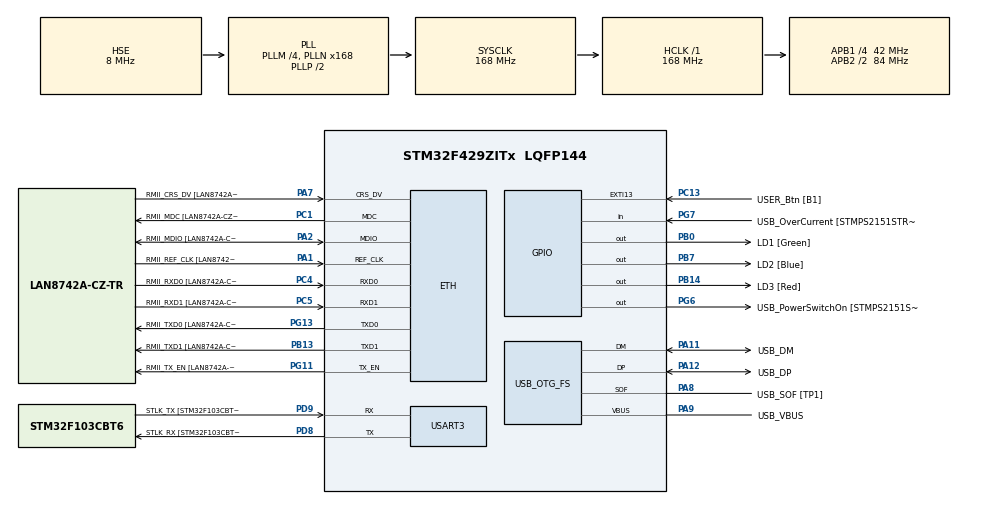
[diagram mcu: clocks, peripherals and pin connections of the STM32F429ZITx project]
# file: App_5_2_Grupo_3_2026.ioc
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ETH.MediaInterface=HAL_ETH_RMII_MODE
ETH.PHY_Name=LAN8742A_PHY_ADDRESS
ETH.PHY_Value=0
ETH.PhyAddress=0
Mcu.Family=STM32F4
Mcu.Name=STM32F429ZITx
Mcu.Package=LQFP144
NVIC.PriorityGroup=NVIC_PRIORITYGROUP_4
PA1.GPIO_Label=RMII_REF_CLK [LAN8742A-CZ-TR_REFCLK0]
PA1.Mode=RMII
PA1.Signal=ETH_REF_CLK
PA10.GPIO_Label=USB_ID
PA10.Signal=USB_OTG_FS_ID
PA11.GPIO_Label=USB_DM
PA11.Mode=Device_Only
PA11.Signal=USB_OTG_FS_DM
PA12.GPIO_Label=USB_DP
PA12.Mode=Device_Only
PA12.Signal=USB_OTG_FS_DP
PA13.GPIO_Label=TMS
PA13.Mode=Serial_Wire
PA13.Signal=SYS_JTMS-SWDIO
PA14.GPIO_Label=TCK
PA14.Mode=Serial_Wire
PA14.Signal=SYS_JTCK-SWCLK
PA2.GPIO_Label=RMII_MDIO [LAN8742A-CZ-TR_MDIO]
PA2.Mode=RMII
PA2.Signal=ETH_MDIO
PA7.GPIO_Label=RMII_CRS_DV [LAN8742A-CZ-TR_CRS_DV]
PA7.Mode=RMII
PA7.Signal=ETH_CRS_DV
PA8.GPIO_Label=USB_SOF [TP1]
PA8.Mode=Activate_SOF_FS
PA8.Signal=USB_OTG_FS_SOF
PA9.GPIO_Label=USB_VBUS
PA9.Mode=Activate_VBUS
PA9.Signal=USB_OTG_FS_VBUS
PB0.GPIO_Label=LD1 [Green]
PB0.Signal=GPIO_Output
PB13.GPIO_Label=RMII_TXD1 [LAN8742A-CZ-TR_TXD1]
PB13.Mode=RMII
PB13.Signal=ETH_TXD1
PB14.GPIO_Label=LD3 [Red]
PB14.Signal=GPIO_Output
PB7.GPIO_Label=LD2 [Blue]
PB7.Signal=GPIO_Output
PC1.GPIO_Label=RMII_MDC [LAN8742A-CZ-TR_MDC]
PC1.Mode=RMII
PC1.Signal=ETH_MDC
PC13.GPIO_Label=USER_Btn [B1]
PC13.Signal=GPXTI13
PC14/OSC32_IN.Mode=LSE-External-Oscillator
PC14/OSC32_IN.Signal=RCC_OSC32_IN
PC15/OSC32_OUT.Mode=LSE-External-Oscillator
PC15/OSC32_OUT.Signal=RCC_OSC32_OUT
PC4.GPIO_Label=RMII_RXD0 [LAN8742A-CZ-TR_RXD0]
PC4.Mode=RMII
PC4.Signal=ETH_RXD0
PC5.GPIO_Label=RMII_RXD1 [LAN8742A-CZ-TR_RXD1]
PC5.Mode=RMII
PC5.Signal=ETH_RXD1
PD8.GPIO_Label=STLK_RX [STM32F103CBT6_PA3]
PD8.Mode=Asynchronous
PD8.Signal=USART3_TX
PD9.GPIO_Label=STLK_TX [STM32F103CBT6_PA2]
PD9.Mode=Asynchronous
PD9.Signal=USART3_RX
PG11.GPIO_Label=RMII_TX_EN [LAN8742A-CZ-TR_TXEN]
PG11.Mode=RMII
PG11.Signal=ETH_TX_EN
PG13.GPIO_Label=RMII_TXD0 [LAN8742A-CZ-TR_TXD0]
PG13.Mode=RMII
PG13.Signal=ETH_TXD0
PG6.GPIO_Label=USB_PowerSwitchOn [STMPS2151STR_EN]
PG6.Signal=GPIO_Output
PG7.GPIO_Label=USB_OverCurrent [STMPS2151STR_FAULT]
PG7.Signal=GPIO_Input
PH0/OSC_IN.GPIO_Label=MCO [STM32F103CBT6_PA8]
PH0/OSC_IN.Mode=HSE-External-Clock-Source
PH0/OSC_IN.Signal=RCC_OSC_IN
PH1/OSC_OUT.Mode=HSE-External-Clock-Source
PH1/OSC_OUT.Signal=RCC_OSC_OUT
ProjectManager.HeapSize=0x200
ProjectManager.StackSize=0x400
ProjectManager.TargetToolchain=STM32CubeIDE
RCC.48MHZClocksFreq_Value=48000000
RCC.AHBFreq_Value=168000000
RCC.APB1CLKDivider=RCC_HCLK_DIV4
RCC.APB1Freq_Value=42000000
RCC.APB1TimFreq_Value=84000000
RCC.APB2CLKDivider=RCC_HCLK_DIV2
RCC.APB2Freq_Value=84000000
RCC.APB2TimCLKDivider=2
RCC.APB2TimFreq_Value=168000000
RCC.CortexFreq_Value=168000000
RCC.HCLKFreq_Value=168000000
RCC.HSE_VALUE=8000000
RCC.HSI_VALUE=16000000
RCC.PLLM=4
RCC.PLLMUL=RCC_PLL_MUL9
RCC.PLLN=168
RCC.PLLQ=7
RCC.PRESCALERUSB=RCC_USBCLKSOURCE_PLL_DIV1_5
RCC.SYSCLKFreq_VALUE=168000000
RCC.SYSCLKSource=RCC_SYSCLKSOURCE_PLLCLK
RCC.SYSCLKSourceVirtual=RCC_SYSCLKSOURCE_PLLCLK
RCC.USBFreq_Value=48000000
RCC.VCOOutputFreq_Value=336000000
USART3.VirtualMode=VM_ASYNC
USB_OTG_FS.VirtualMode=Device_Only
board=NUCLEO-F429ZI

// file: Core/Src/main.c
/* USER CODE BEGIN Header */
/**
  ******************************************************************************
  * @file           : main.c
  * @brief          : Main program body
  ******************************************************************************
  * App_5_2_Grupo_3_2026 - AFP5 - Antirrebote por MEF (API_debounce)
  *
  * Aplicacion (refactor de App_4_2 con driver de antirrebote): secuencia de
  * encendido de los 3 leds onboard (200 ms encendido, 200 ms apagado). El
  * pulsador de usuario invierte el sentido de la secuencia; la pulsacion es
  * validada por la maquina de estados de API_debounce con 40 ms de
  * antirrebote, por lo que el rebote mecanico ya no puede producir
  * inversiones falsas.
  * Se usan los tres drivers apilados: API_debounce (MEF) -> API_delay
  * (retardos no bloqueantes) -> API_GPIO (acceso a pines).
  ******************************************************************************
  * @attention
  *
  * Copyright (c) 2026 STMicroelectronics.
  * All rights reserved.
  *
  * This software is licensed under terms that can be found in the LICENSE file
  * in the root directory of this software component.
  * If no LICENSE file comes with this software, it is provided AS-IS.
  *
  ******************************************************************************
  */
/* USER CODE END Header */
#include "main.h"
#include "string.h"
#include "API_GPIO.h"
#include "API_delay.h"
#include "API_debounce.h"

/* USER CODE BEGIN PD */
#define LED_COUNT	3		/* Cantidad de leds del vector: extensible a mas leds */
#define TIEMPO_MS	200		/* Tiempo de encendido y de apagado de cada led [ms] */
/* USER CODE END PD */

ETH_TxPacketConfig TxConfig;
ETH_DMADescTypeDef  DMARxDscrTab[ETH_RX_DESC_CNT]; /* Ethernet Rx DMA Descriptors */
ETH_DMADescTypeDef  DMATxDscrTab[ETH_TX_DESC_CNT]; /* Ethernet Tx DMA Descriptors */

ETH_HandleTypeDef heth;

UART_HandleTypeDef huart3;

PCD_HandleTypeDef hpcd_USB_OTG_FS;

/* USER CODE BEGIN PV */
/* Vector de leds de la placa: con este formato la app queda general y puede
 * extenderse a mas leds con minimas modificaciones (solo agregar elementos) */
led_t leds[LED_COUNT] = {
	{LD1_GPIO_Port, LD1_Pin},
	{LD2_GPIO_Port, LD2_Pin},
	{LD3_GPIO_Port, LD3_Pin}
};

const button_t userButton = {USER_Btn_GPIO_Port, USER_Btn_Pin};

delay_t delaySecuencia;		/* Retardo no bloqueante de la secuencia */
uint8_t indice = 0;			/* Indice del led activo en el vector */
bool ledEncendido = false;	/* Estado de la fase actual: encendido o apagado */
int8_t direccion = 1;		/* 1 = LD1->LD3, -1 = sentido inverso */
/* USER CODE END PV */

void SystemClock_Config(void);
/* El prototipo de MX_GPIO_Init() paso al driver: ver API_GPIO.h */
static void MX_ETH_Init(void);
static void MX_USART3_UART_Init(void);
static void MX_USB_OTG_FS_PCD_Init(void);

int main(void)
{

  /* MCU Configuration--------------------------------------------------------*/

  /* Reset of all peripherals, Initializes the Flash interface and the Systick. */
  HAL_Init();

  /* Configure the system clock */
  SystemClock_Config();

  /* Initialize all configured peripherals */
  MX_GPIO_Init();
  MX_ETH_Init();
  MX_USART3_UART_Init();
  MX_USB_OTG_FS_PCD_Init();
  /* USER CODE BEGIN 2 */
  delayInit(&delaySecuencia, TIEMPO_MS);
  debounceFSM_init();
  /* USER CODE END 2 */

  /* Infinite loop */
  /* USER CODE BEGIN WHILE */
  while (1)
  {
	  /* La MEF filtra el rebote y dispara buttonPressed() en cada pulsacion */
	  debounceFSM_update(readButton_GPIO(userButton));

	  /* Avance de la secuencia cuando el retardo se cumple */
	  if (delayRead(&delaySecuencia))
	  {
		  if (!ledEncendido)
		  {
			  writeLedOn_GPIO(leds[indice]);
			  ledEncendido = true;
		  }
		  else
		  {
			  writeLedOff_GPIO(leds[indice]);
			  ledEncendido = false;
			  indice = (uint8_t)((indice + direccion + LED_COUNT) % LED_COUNT);
		  }
	  }
    /* USER CODE END WHILE */

  }
}

void SystemClock_Config(void)
{
  RCC_OscInitTypeDef RCC_OscInitStruct = {0};
  RCC_ClkInitTypeDef RCC_ClkInitStruct = {0};

  /** Configure the main internal regulator output voltage
  */
  __HAL_RCC_PWR_CLK_ENABLE();
  __HAL_PWR_VOLTAGESCALING_CONFIG(PWR_REGULATOR_VOLTAGE_SCALE1);

  /** Initializes the RCC Oscillators according to the specified parameters
  * in the RCC_OscInitTypeDef structure.
  */
  RCC_OscInitStruct.OscillatorType = RCC_OSCILLATORTYPE_HSE;
  RCC_OscInitStruct.HSEState = RCC_HSE_BYPASS;
  RCC_OscInitStruct.PLL.PLLState = RCC_PLL_ON;
  RCC_OscInitStruct.PLL.PLLSource = RCC_PLLSOURCE_HSE;
  RCC_OscInitStruct.PLL.PLLM = 4;
  RCC_OscInitStruct.PLL.PLLN = 168;
  RCC_OscInitStruct.PLL.PLLP = RCC_PLLP_DIV2;
  RCC_OscInitStruct.PLL.PLLQ = 7;
  if (HAL_RCC_OscConfig(&RCC_OscInitStruct) != HAL_OK)
  {
    Error_Handler();
  }

  /** Initializes the CPU, AHB and APB buses clocks
  */
  RCC_ClkInitStruct.ClockType = RCC_CLOCKTYPE_HCLK|RCC_CLOCKTYPE_SYSCLK
                              |RCC_CLOCKTYPE_PCLK1|RCC_CLOCKTYPE_PCLK2;
  RCC_ClkInitStruct.SYSCLKSource = RCC_SYSCLKSOURCE_PLLCLK;
  RCC_ClkInitStruct.AHBCLKDivider = RCC_SYSCLK_DIV1;
  RCC_ClkInitStruct.APB1CLKDivider = RCC_HCLK_DIV4;
  RCC_ClkInitStruct.APB2CLKDivider = RCC_HCLK_DIV2;

  if (HAL_RCC_ClockConfig(&RCC_ClkInitStruct, FLASH_LATENCY_5) != HAL_OK)
  {
    Error_Handler();
  }
}

static void MX_ETH_Init(void)
{

   static uint8_t MACAddr[6];

  heth.Instance = ETH;
  MACAddr[0] = 0x00;
  MACAddr[1] = 0x80;
  MACAddr[2] = 0xE1;
  MACAddr[3] = 0x00;
  MACAddr[4] = 0x00;
  MACAddr[5] = 0x00;
  heth.Init.MACAddr = &MACAddr[0];
  heth.Init.MediaInterface = HAL_ETH_RMII_MODE;
  heth.Init.TxDesc = DMATxDscrTab;
  heth.Init.RxDesc = DMARxDscrTab;
  heth.Init.RxBuffLen = 1524;

  if (HAL_ETH_Init(&heth) != HAL_OK)
  {
    Error_Handler();
  }

  memset(&TxConfig, 0 , sizeof(ETH_TxPacketConfig));
  TxConfig.Attributes = ETH_TX_PACKETS_FEATURES_CSUM | ETH_TX_PACKETS_FEATURES_CRCPAD;
  TxConfig.ChecksumCtrl = ETH_CHECKSUM_IPHDR_PAYLOAD_INSERT_PHDR_CALC;
  TxConfig.CRCPadCtrl = ETH_CRC_PAD_INSERT;

}

static void MX_USART3_UART_Init(void)
{

  huart3.Instance = USART3;
  huart3.Init.BaudRate = 115200;
  huart3.Init.WordLength = UART_WORDLENGTH_8B;
  huart3.Init.StopBits = UART_STOPBITS_1;
  huart3.Init.Parity = UART_PARITY_NONE;
  huart3.Init.Mode = UART_MODE_TX_RX;
  huart3.Init.HwFlowCtl = UART_HWCONTROL_NONE;
  huart3.Init.OverSampling = UART_OVERSAMPLING_16;
  if (HAL_UART_Init(&huart3) != HAL_OK)
  {
    Error_Handler();
  }

}

static void MX_USB_OTG_FS_PCD_Init(void)
{

  hpcd_USB_OTG_FS.Instance = USB_OTG_FS;
  hpcd_USB_OTG_FS.Init.dev_endpoints = 4;
  hpcd_USB_OTG_FS.Init.speed = PCD_SPEED_FULL;
  hpcd_USB_OTG_FS.Init.dma_enable = DISABLE;
  hpcd_USB_OTG_FS.Init.phy_itface = PCD_PHY_EMBEDDED;
  hpcd_USB_OTG_FS.Init.Sof_enable = ENABLE;
  hpcd_USB_OTG_FS.Init.low_power_enable = DISABLE;
  hpcd_USB_OTG_FS.Init.lpm_enable = DISABLE;
  hpcd_USB_OTG_FS.Init.vbus_sensing_enable = ENABLE;
  hpcd_USB_OTG_FS.Init.use_dedicated_ep1 = DISABLE;
  if (HAL_PCD_Init(&hpcd_USB_OTG_FS) != HAL_OK)
  {
    Error_Handler();
  }

}

/* USER CODE BEGIN 4 */
/**
  * @brief Accion de pulsacion validada por la MEF: invierte el sentido de la
  *        secuencia. Implementada por la aplicacion.
  * @retval None
  */
void buttonPressed(void)
{
	direccion = -direccion;
}

/**
  * @brief Accion de liberacion validada por la MEF: sin accion en esta app.
  * @retval None
  */
void buttonReleased(void)
{
	/* Sin accion asociada en esta aplicacion */
}
/* USER CODE END 4 */

void Error_Handler(void)
{
  __disable_irq();
  while (1)
  {
  }
}
